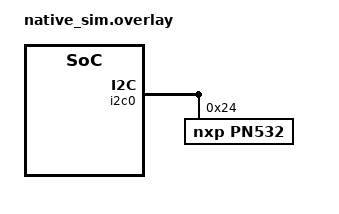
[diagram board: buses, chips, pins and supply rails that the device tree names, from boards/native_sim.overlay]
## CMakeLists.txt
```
# SPDX-License-Identifier: Apache-2.0

cmake_minimum_required(VERSION 3.20.0)
find_package(Zephyr REQUIRED HINTS $ENV{ZEPHYR_BASE})
project(app)

target_include_directories(app PRIVATE include)

target_sources(app PRIVATE
  src/main.c
)

if(CONFIG_BOOTLOADER_MCUBOOT)
  target_sources(app PRIVATE src/Updater.cpp)
endif()
```

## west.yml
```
manifest:
  version: 0.7

  defaults:
    remote: zephyrproject

  remotes:
    - name: zephyrproject
      url-base: https://github.com/bayrem-gharsellaoui

  projects:
    - name: zephyr
      repo-path: zephyr
      revision: crypto_stm32_hash
      path: zephyr
      import:
        path-prefix: deps
        name-allowlist:
          - cmsis_6
          - hal_stm32
          - mcuboot
          - mbedtls

  self:
    path: app
```

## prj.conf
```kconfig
# Shell
CONFIG_KERNEL_SHELL=y
CONFIG_SHELL=y

# Debug
CONFIG_DEBUG=y
CONFIG_DEBUG_THREAD_INFO=y
CONFIG_NO_OPTIMIZATIONS=y

# Logging
CONFIG_LOG=y
```

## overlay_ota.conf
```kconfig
# Bootloader
CONFIG_BOOTLOADER_MCUBOOT=y
CONFIG_MCUBOOT_GENERATE_UNSIGNED_IMAGE=n
CONFIG_MCUBOOT_SIGNATURE_KEY_FILE="bootloader/mcuboot/root-rsa-2048.pem"

# Updater
CONFIG_IMG_MANAGER=y
CONFIG_IMG_ENABLE_IMAGE_CHECK=y

# NVS
CONFIG_NVS=y
CONFIG_NVS_LOG_LEVEL_DBG=n
CONFIG_MPU_ALLOW_FLASH_WRITE=y
CONFIG_FLASH=y
CONFIG_FLASH_MAP=y
CONFIG_STREAM_FLASH=y
CONFIG_FLASH_PAGE_LAYOUT=y
CONFIG_FLASH_AREA_CHECK_INTEGRITY_MBEDTLS=y
```

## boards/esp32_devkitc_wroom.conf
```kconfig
CONFIG_HEAP_MEM_POOL_SIZE=98304
CONFIG_EARLY_CONSOLE=y
CONFIG_INIT_STACKS=y

CONFIG_TEST_RANDOM_GENERATOR=y

CONFIG_WIFI=y
CONFIG_WIFI_LOG_LEVEL_ERR=y
CONFIG_ESP32_WIFI_STA_AUTO_DHCPV4=y

CONFIG_NETWORKING=y
CONFIG_NET_LOG=y
CONFIG_NET_L2_ETHERNET=y
CONFIG_NET_L2_WIFI_SHELL=y
CONFIG_NET_IPV4=y
CONFIG_NET_IPV6=n
CONFIG_NET_TCP=y
CONFIG_NET_DHCPV4=y
CONFIG_NET_TX_STACK_SIZE=2048
CONFIG_NET_RX_STACK_SIZE=2048
CONFIG_NET_PKT_RX_COUNT=10
CONFIG_NET_PKT_TX_COUNT=10
CONFIG_NET_BUF_RX_COUNT=20
CONFIG_NET_BUF_TX_COUNT=20
CONFIG_NET_MAX_CONTEXTS=10
CONFIG_NET_SHELL=y
CONFIG_NET_STATISTICS=y
CONFIG_NET_STATISTICS_PERIODIC_OUTPUT=n
```

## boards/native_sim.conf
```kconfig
# GPIO
CONFIG_GPIO=y

# Emulation
CONFIG_EMUL=y
CONFIG_I2C_EMUL=y
CONFIG_GPIO_EMUL=y
```

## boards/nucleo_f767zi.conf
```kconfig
# GPIO
CONFIG_GPIO=y

# UART
CONFIG_SERIAL=y
CONFIG_UART_INTERRUPT_DRIVEN=y

# Networking
CONFIG_NET_L2_ETHERNET=n
```

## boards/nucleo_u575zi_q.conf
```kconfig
# Crypto
CONFIG_CRYPTO=y
CONFIG_CRYPTO_LOG_LEVEL_DBG=y

# Misc
CONFIG_MAIN_STACK_SIZE=4096
```

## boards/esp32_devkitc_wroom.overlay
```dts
/ {
    aliases {
        led0 = &led0;
    };

    leds {
        compatible = "gpio-leds";
        led0: led_0 {
            gpios = <&gpio0 25 GPIO_ACTIVE_HIGH>;
            label = "LED 0";
        };
    };
};
```

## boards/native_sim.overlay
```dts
&i2c0 {
    status = "okay";
    pn532: pn532@24 {
        compatible = "nxp,pn532";
        reg = <0x24>;
        status = "okay";
    };
};
```

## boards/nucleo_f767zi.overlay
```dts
&die_temp {
	status = "okay";
};

&usart3 {
	current-speed = <2000000>;
	status = "okay";
};

&i2c1 {
    status = "okay";
    pn532: pn532@24 {
        compatible = "nxp,pn532";
        reg = <0x24>;
        status = "okay";
    };
};
```

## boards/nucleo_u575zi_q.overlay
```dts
&die_temp {
    status = "okay";
};

&flash0 {
    partitions {
        compatible = "fixed-partitions";
        #address-cells = <1>;
        #size-cells = <1>;

        /*
         * The two sectors 0-1 (32+32 kbytes) are reserved for
         * the bootloader.
         */
        boot_partition: partition@0 {
            label = "mcuboot";
            reg = <0x0 DT_SIZE_K(64)>;
            read-only;
        };

        /*
         * The flash starting at offset 0x10000 and ending at
         * offset 0x1ffff is reserved for use by the application.
         * This represents sectors 2-3 (32+32 kbytes)
         */
        storage_partition: partition@10000 {
            label = "storage";
            reg = <0x00010000 DT_SIZE_K(64)>;
        };

        /*
         * Sector 4 (128 kbytes) unallocated.
         */

        /*
         * Allocated 3 (256k x 3) sectors for image-0. Sectors 5-7.
         */
        slot0_partition: partition@40000 {
            label = "image-0";
            reg = <0x00040000 DT_SIZE_K(768)>;
        };

        /*
         * Allocated 3 (256k x 3) sectors for image-1. Sectors 8-10.
         */
        slot1_partition: partition@100000 {
            label = "image-1";
            reg = <0x00100000 DT_SIZE_K(768)>;
        };

        /*
         * Allocated 1 (256k) sector for image-scratch. Sector 11.
         */
        scratch_partition: partition@1C0000 {
            label = "image-scratch";
            reg = <0x001C0000 DT_SIZE_K(256)>;
        };
    };
};

/ {
    hash: hash@420c0400 {
        compatible = "st,stm32-hash";
        reg = <0x420c0400 0x400>;
        clocks = <&rcc STM32_CLOCK(AHB2, 17U)>;
        resets = <&rctl STM32_RESET(AHB2L, 17U)>;
        interrupts = <96 0>;
        status = "okay";
    };
};
```

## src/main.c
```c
/*-----------------------------------------------------------------------------------------------*/
/* Includes                                                                                      */
/*-----------------------------------------------------------------------------------------------*/
// Lib C includes
#include <stdlib.h>
#include <stdbool.h>

// Zephyr includes
#include <zephyr/kernel.h>
#include <zephyr/device.h>
#include <zephyr/logging/log.h>
LOG_MODULE_REGISTER(main);

#include <pn532.h>

/*-----------------------------------------------------------------------------------------------*/
/* Private function prototypes                                                                   */
/*-----------------------------------------------------------------------------------------------*/
static void pn532_example(void);

/*-----------------------------------------------------------------------------------------------*/
/* Public functions                                                                              */
/*-----------------------------------------------------------------------------------------------*/
/**
  * @brief  Program entry point
  * @param  None
  * @retval None
  */
int main(void)
{
  pn532_example();

  while (true) {
    k_msleep(500);
  }

  return EXIT_FAILURE;
}

/**
  * @brief  Fatal error handler callback
  * @param  reason Reason for the fatal error
  * @param  context Exception context, with details and partial or full register
  * @retval None
  */
void k_sys_fatal_error_handler(unsigned int reason, const struct arch_esf *context)
{
  struct k_thread *faulting_thread = NULL;

  switch (reason) {
    case K_ERR_CPU_EXCEPTION: {
      LOG_ERR("Generic CPU exception, not covered by other codes");
      break;
    }
    case K_ERR_SPURIOUS_IRQ: {
      LOG_ERR("Unhandled hardware interrupt");
      break;
    }
    case K_ERR_STACK_CHK_FAIL: {
      LOG_ERR("Faulting context overflowed its stack buffer");
      /* Get the current thread that caused the fault */
      faulting_thread = k_current_get();
      if (faulting_thread) {
        LOG_ERR("Fault occurred in thread: %s", k_thread_name_get(faulting_thread));
        LOG_ERR("Thread ID: %p", (void *)faulting_thread);
        LOG_ERR("Stack start: %p, size: %zu",
                (void *)faulting_thread->stack_info.start,
                faulting_thread->stack_info.size);
      } else {
        LOG_ERR("Could not determine faulting thread");
      }
      break;
    }
    case K_ERR_KERNEL_OOPS: {
      LOG_ERR("High severity software error");
      break;
    }
    case K_ERR_ARCH_START: {
      LOG_ERR("Arch specific fatal errors");
      break;
    }
    default: {
      LOG_ERR("Unknow reason for fatal error (%d)", reason);
      break;
    }
  }
}

/*-----------------------------------------------------------------------------------------------*/
/* Private functions                                                                             */
/*-----------------------------------------------------------------------------------------------*/
/**
  * @brief  Example of using the PN532 NFC driver
  * @retval None
  */
static void pn532_example(void)
{
  const struct device *dev = DEVICE_DT_GET_ONE(nxp_pn532);
  uint32_t version = 0;

  if (!device_is_ready(dev)) {
    LOG_INF("PN532 device not ready");
    return;
  }

  if (pn532_get_firmware_version(dev, &version) == 0) {
    LOG_INF("PN532 Firmware Version: %02X.%02X", (version >> 8) & 0xFF, version & 0xFF);
  } else {
    LOG_ERR("Failed to get PN532 firmware version");
  }
}
```

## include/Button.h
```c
/*
Usage example:

// Lib C includes
#include <stdbool.h>

// Zephyr includes
#include <zephyr/kernel.h>
#include <zephyr/device.h>
#include <zephyr/sys/printk.h>
#include <zephyr/drivers/gpio.h>

// User C++ class headers
#include "Button.h"

// Reference GPIO device from device tree
const struct gpio_dt_spec buttonGpio = GPIO_DT_SPEC_GET_OR(DT_ALIAS(sw0), gpios, {0});

// Create local object using the device
Button button(&buttonGpio);

// Continuously check if a button is pressed
while (true) {
  if (button.isPressed()) {
    printk("Button is pressed\r\n");
  }
  k_msleep(200);
}
*/

#ifndef BUTTON_H
#define BUTTON_H

#include <stdbool.h>
#include <zephyr/drivers/gpio.h>

enum class ButtonPolarity {
  NORMAL,
  INVERTED
};

class Button {

public:
  Button(const struct gpio_dt_spec *gpio);
  ~Button();

  bool isPressed(ButtonPolarity polarity = ButtonPolarity::NORMAL);

private:
  const struct gpio_dt_spec *gpio;

};

#endif // BUTTON_H
```

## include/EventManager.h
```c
#ifndef EVENT_MANAGER_H
#define EVENT_MANAGER_H

// Zephyr includes
#include <zephyr/kernel.h>
#include <zephyr/zbus/zbus.h>

#define EVENT_ACTION_LIST_SIZE(list) (sizeof(list) / sizeof(list[0]))

// Possible events
typedef enum {
  EVENT_INITIAL_VALUE = 0,
  EVENT_OTA_UPDATE_SHELL_CMD,
  EVENT_NETWORK_AVAILABLE,
  EVENT_BUTTON_PRESSED,
  EVENT_MAX_VALUE
} event_id_t;

// event_id_t enum is embedded inside event_t struct because ZBUS only accepts struct or union
typedef struct {
  event_id_t id;
} event_t;

typedef void (*event_action_t) (void);

typedef struct {
  event_id_t id;
  event_action_t action;
} event_action_pair_t;

void processEvent(event_t *event, const event_action_pair_t *eventActionList, uint8_t listLength);
int waitForEvent(const zbus_observer *subscriber, event_t *event, k_timeout_t timeout);
int publishEvent(event_t *event, k_timeout_t timeout);

// Import channel and make it exportable by just including "EventManager.h"
ZBUS_CHAN_DECLARE(eventsChannel);

#endif // EVENT_MANAGER_H
```

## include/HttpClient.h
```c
/*
Usage example:

// Lib C includes
#include <stdint.h>
#include <stdbool.h>

// Zephyr includes
#include <zephyr/kernel.h>
#include <zephyr/sys/printk.h>

// User C++ class headers
#include "HttpClient.h"

// Thread handler function declaration
static void httpGetRequestThreadHandler();

// Delay value used inside thread loops to yield back to scheduler
static constexpr uint32_t HTTP_CLIENT_THREAD_SLEEP_TIME_MS = 100;

// Threads definition
K_THREAD_DEFINE(httpGetRequestThread, 1024, httpGetRequestThreadHandler, NULL, NULL, NULL, 7, 0, 0);

static void httpGetRequestThreadHandler() {
  // Create an HTTP client as a local object
  HttpClient client((char *)"10.42.0.1", 1880);

  // Send GET request and handle response in a lambda callback
  client.get("/data", [](uint8_t *response, uint32_t length) {
    uint32_t index = 0;

    // Skip headers by looking for the start of the json message
    for (index = 0; index < length; index++) {
      if (response[index] == '{') {
        break;
      }
    }
    printk("\r\nResponse(%d bytes): %.*s\r\n", length-index, length-index, &response[index]);
  });

  while (true) {
    k_msleep(HTTP_CLIENT_THREAD_SLEEP_TIME_MS);
  }
}
*/

#ifndef HTTP_CLIENT_H
#define HTTP_CLIENT_H

#include <stdint.h>
#include <stdbool.h>
#include <functional>

#include <zephyr/net/net_ip.h>
#include <zephyr/net/http/client.h>

static constexpr uint32_t HTTP_CLIENT_RESPONSE_BUFFER_SIZE = 512;

typedef struct {
  uint8_t *header;
  uint32_t headerLength;
  uint8_t *body;
  uint32_t bodyLength;
  uint32_t totalSize;
  bool isComplete;
  uint16_t statusCode;
} HttpResponse;

class HttpClient {

public:
  std::function<void(HttpResponse *response)> callback;

  HttpClient(char *server, uint16_t port = 80);
  ~HttpClient();
  int get(const char *endpoint, std::function<void(HttpResponse *)> callback);
  int post(const char *endpoint,
           const char *data,
           uint32_t length,
           std::function<void(HttpResponse *)> callback);

private:
  int sock;
  char *server;
  uint16_t port;
  struct sockaddr socketAddress;
  uint8_t responseBuffer[HTTP_CLIENT_RESPONSE_BUFFER_SIZE];

};

#endif // HTTP_CLIENT_H
```

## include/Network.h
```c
/*
Usage example:

// Lib C includes
#include <stdbool.h>

// Zephyr includes
#include <zephyr/kernel.h>
#include <zephyr/sys/printk.h>

// User C++ class headers
#include "Network.h"

// Get the singleton instance of Network
Network& network = Network::getInstance();

// Set up the lambda callback for IP address notification
network.onGotIP([](const char *ipAddress) {
  printk("Got IP address: %s\r\n", ipAddress);
});

// Start the network and wait for an IP address
network.start();
*/

#ifndef NETWORK_H
#define NETWORK_H

#include <stdint.h>
#include <functional>
#include <zephyr/net/net_if.h>
#include <zephyr/net/net_mgmt.h>

class Network {
public:
  // Static method to access the singleton instance
  static Network& getInstance();

  void start();
  void onGotIP(std::function<void(const char *)> callback);

  std::function<void(const char *)> callback;

private:
  // Private constructor to prevent direct instantiation
  Network();
  ~Network();

  // Static member to hold the singleton instance
  static Network instance;
  struct net_mgmt_event_callback mgmtEventCb;
  struct net_if *netIface;
};

#endif // NETWORK_H
```

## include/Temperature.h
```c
/*
Usage example:

// Lib C includes
#include <stdbool.h>

// Zephyr includes
#include <zephyr/kernel.h>
#include <zephyr/device.h>
#include <zephyr/sys/printk.h>

// User C++ class headers
#include "Temperature.h"

// Variable to hold temperature reading in Celsius
double temperatureReading = 0;

// Reference die temperature device from device tree
const struct device *temperatureDevice = DEVICE_DT_GET(DT_NODELABEL(die_temp));

// Create local object using the device
Temperature temperature(temperatureDevice);

// Continuously read temperature
while (true) {
  temperatureReading = temperature.read();
  printk("CPU temperature: %.1f °C\r\n", temperatureReading);
  k_msleep(1000);
}
*/

#ifndef TEMPERATURE_H
#define TEMPERATURE_H

class Temperature {

public:
  Temperature(const struct device *device);
  ~Temperature();
  double read();

private:
  const struct device *device;

};

#endif // TEMPERATURE_H
```

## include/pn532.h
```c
#ifndef PN532_H_
#define PN532_H_

#include <zephyr/device.h>

#define PN532_MIFARE_ISO14443A (0x00)

int pn532_get_firmware_version(const struct device *i2c_dev, uint32_t *version);
int pn532_start_passive_target_id_detection(const struct device *i2c_dev, uint8_t card_baudrate);
int pn532_read_passive_target_id(const struct device *i2c_dev, uint8_t *uid, uint8_t *uid_length, uint16_t timeout);

#endif /* PN532_H_ */
```

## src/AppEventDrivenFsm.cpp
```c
#include <stdbool.h>
#include <zephyr/kernel.h>
#include <zephyr/drivers/gpio.h>
#include <zephyr/smf.h>
#include <zephyr/logging/log.h>
LOG_MODULE_REGISTER(AppEventDrivenFsm);

/* List of events */
#define EVENT_ANY          (uint32_t)(0xFFFFFFFF)
#define EVENT_BUTTON_PRESS (uint32_t)(BIT(0))

/* Used to facilitate indexing the states[] list */
typedef enum {
  STATE_0 = 0,
  STATE_1,
  STATE_MAX,
} state_t;

/* State machine global context (contains SMF context + user data) */
typedef struct {
  /* This must be first */
  struct smf_ctx ctx;
  /* In our case, user data is the event kernel object and a 32 bits variable to store events */
  struct k_event kEvent;
  uint32_t events;
  /* Other state specific data add here */
} state_machine_t;

static void appThreadHandler(void);
static void state0EventsHandler(void *machine);
static void state1EventsHandler(void *machine);
static void setupButton(const struct gpio_dt_spec *buttonGpio, struct gpio_callback *callbackData);
static void onButtonPressCallback(const struct device *dev, struct gpio_callback *cb, uint32_t pins);

/* Create thread */
K_THREAD_DEFINE(appThread, 1024, appThreadHandler, NULL, NULL, NULL, 7, 0, 0);

/* Get button device from DTS */
static const struct gpio_dt_spec button = GPIO_DT_SPEC_GET_OR(DT_ALIAS(sw0), gpios, {0});

/* List of states */
static const struct smf_state states[] = {
  [STATE_0] = SMF_CREATE_STATE(NULL, state0EventsHandler, NULL),
  [STATE_1] = SMF_CREATE_STATE(NULL, state1EventsHandler, NULL),
};

/* Global state machine */
static state_machine_t stateMachine = {0};

/* Button GPIO callback data */
static struct gpio_callback buttonCallbackData = {0};

static void appThreadHandler(void) {
  int ret = 0;

  /* Configure button GPIO and interrupt */
  setupButton(&button, &buttonCallbackData);

  /* Initialize the event kernel object inside the state machine */
  k_event_init(&stateMachine.kEvent);

  /* Set initial state for the state machine */
  smf_set_initial(SMF_CTX(&stateMachine), &states[STATE_0]);

  /* Run the state machine */
  while(true) {
    /* Block forever until any event is detected */
    stateMachine.events = k_event_wait(&stateMachine.kEvent, EVENT_ANY, true, K_FOREVER);
    /* Runs one iteration of a state machine (including any parent states) */
    ret = smf_run_state(SMF_CTX(&stateMachine));
    /* State machine terminates if a non-zero value is returned */
    if (ret) {
      /* Handle return code and terminate state machine */
      break;
    }
  }
}

static void state0EventsHandler(void *machine) {
  /* Filter on events that we need in STATE 0 */
  if (stateMachine.events & EVENT_BUTTON_PRESS) {
    /* Change state on button press event */
    smf_set_state(SMF_CTX(&stateMachine), &states[STATE_1]);
  }
}

static void state1EventsHandler(void *machine) {
  /* Filter on events that we need in STATE 1 */
  if (stateMachine.events & EVENT_BUTTON_PRESS) {
    /* Change state on button press event */
    smf_set_state(SMF_CTX(&stateMachine), &states[STATE_0]);
  }
}

static void setupButton(const struct gpio_dt_spec *buttonGpio, struct gpio_callback *callbackData) {
  int ret;

  /* Setup button GPIO and interrupt */
  if (!gpio_is_ready_dt(buttonGpio)) {
    LOG_ERR("Error: button device %s is not ready", button.port->name);
    return;
  }
  ret = gpio_pin_configure_dt(buttonGpio, GPIO_INPUT);
  if (ret != 0) {
    LOG_ERR("Error %d: failed to configure %s pin %d", ret, button.port->name, button.pin);
    return;
  }
  ret = gpio_pin_interrupt_configure_dt(buttonGpio, GPIO_INT_EDGE_TO_ACTIVE);
  if (ret != 0) {
    LOG_ERR("Error %d: failed to configure interrupt on %s pin %d", ret, button.port->name, button.pin);
    return;
  }
  gpio_init_callback(callbackData, onButtonPressCallback, BIT(button.pin));
  gpio_add_callback(button.port, callbackData);
}

static void onButtonPressCallback(const struct device *dev, struct gpio_callback *cb, uint32_t pins) {
  /* Generate button press event */
  k_event_post(&stateMachine.kEvent, EVENT_BUTTON_PRESS);
}
```

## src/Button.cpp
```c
// Lib C
#include <assert.h>

// Zephyr includes
#include <zephyr/drivers/gpio.h>
#include <zephyr/logging/log.h>
LOG_MODULE_REGISTER(Button);

// User C++ class headers
#include "Button.h"

Button::Button(const struct gpio_dt_spec *gpio) {
  assert(gpio);

  this->gpio = gpio;

  if (!gpio_is_ready_dt(gpio)) {
    LOG_ERR("Error: button device %s is not ready", gpio->port->name);
    return;
  }

  if (gpio_pin_configure_dt(gpio, GPIO_INPUT) != 0) {
    LOG_ERR("Error: Failed to configure %s pin %d", gpio->port->name, gpio->pin);
    return;
  }
}

Button::~Button() {
  // Destructor is automatically called when the object goes out of scope or is explicitly deleted
}

bool Button::isPressed(ButtonPolarity polarity) {
  bool result = false;

  if (polarity == ButtonPolarity::NORMAL) {
    result = (gpio_pin_get_dt(this->gpio) == 0) ? true : false;
  } else {
    result = (gpio_pin_get_dt(this->gpio) == 1) ? true : false;
  }

  return result;
}
```

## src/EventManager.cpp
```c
// Lib C
#include <assert.h>

// Zephyr includes
#include <zephyr/zbus/zbus.h>
#include <zephyr/logging/log.h>
LOG_MODULE_REGISTER(EventManager);

// User C++ class headers
#include "EventManager.h"

// ZBUS channel definition
ZBUS_CHAN_DEFINE(
  eventsChannel,                           // Channel name
  event_t,                                 // Message type
  NULL,                                    // Validator function
  NULL,                                    // User data
  ZBUS_OBSERVERS(ZBUS_OBSERVERS_EMPTY),    // Initial observers list
  ZBUS_MSG_INIT(.id = EVENT_INITIAL_VALUE) // Message initialization
);

int waitForEvent(const zbus_observer *subscriber, event_t *event, k_timeout_t timeout) {
  int ret = 0;
  const struct zbus_channel *channel = NULL;

  assert(subscriber);
  assert(event);

  // Wait forever for an event
  ret = zbus_sub_wait(subscriber, &channel, K_FOREVER);

  // Check if notification is received
  if (ret == 0) {

    // Make sure the event came on the right channel
    if (&eventsChannel == channel) {

      // Read the event
      ret = zbus_chan_read(&eventsChannel, event, K_FOREVER);

      if (ret == 0) {
        LOG_DBG("Subscriber <%s> received event <%d> on <%s>\r\n",
                subscriber->name,
                event->id,
                channel->name);
      } else {
        // Something wrong happened while reading event from channel
        LOG_ERR("Something wrong happened while reading from channel: %d", ret);
      }
    } else {
      // I'm not interested in this channel
      LOG_WRN("<%s> is not interested in this channel: <%s>", subscriber->name, channel->name);
    }
  } else {
    // Something wrong happened while waiting for event
    LOG_ERR("Something wrong happened while waiting for event: %d", ret);
  }

  return ret;
}

void processEvent(event_t *event, const event_action_pair_t *eventActionList, uint8_t listLength) {
  uint8_t eventIndex = 0;

  assert(event);
  assert(eventActionList);
  assert(listLength);

  // For each event/action pair
  for (eventIndex = 0; eventIndex < listLength; eventIndex++) {
    // If the event that needs to be processed is found
    if (event->id == eventActionList[eventIndex].id) {
      // And has a valid action function
      if (eventActionList[eventIndex].action) {
        // Execute its associated action
        eventActionList[eventIndex].action();
      }
    }
  }
}

int publishEvent(event_t *event, k_timeout_t timeout) {
  int ret = 0;

  assert(event);

  ret = zbus_chan_pub(&eventsChannel, event, timeout);

  return ret;
}
```

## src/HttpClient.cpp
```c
// Lib C
#include <string.h>
#include <assert.h>

// Zephyr includes
#include <zephyr/net/net_ip.h>
#include <zephyr/net/socket.h>
#include <zephyr/net/http/client.h>
#include <zephyr/logging/log.h>
LOG_MODULE_REGISTER(HttpClient);

// User C++ class headers
#include "HttpClient.h"

static void responseCallback(http_response *response,
                                 enum http_final_call finalData,
                                 void *userData);

HttpClient::HttpClient(char *server, uint16_t port) {
  assert(server);
  assert(port);

  // 1. Initialize attributes
  this->sock = 0;
  this->server = server;
  this->port = port;
  memset((void *)&this->socketAddress, 0x00, sizeof(this->socketAddress));
  memset((void *)&this->responseBuffer, 0x00, sizeof(this->responseBuffer));
}

HttpClient::~HttpClient() {
  // Destructor is automatically called when the object goes out of scope or is explicitly deleted
}

int HttpClient::get(const char *endpoint, std::function<void(HttpResponse *)> callback) {
  int ret = 0;
  struct http_request request = {0};

  assert(endpoint);
  assert(callback);

  // 0. Create socket
  memset((void *)&this->socketAddress, 0x00, sizeof(this->socketAddress));
  net_sin(&this->socketAddress)->sin_family = AF_INET;
  net_sin(&this->socketAddress)->sin_port = htons(port);
  inet_pton(AF_INET, this->server, &net_sin(&this->socketAddress)->sin_addr);
  this->sock = socket(AF_INET, SOCK_STREAM, IPPROTO_TCP);

  if (this->sock < 0) {
    LOG_ERR("Failed to create HTTP socket (%d)\r\n", -errno);
  }

  this->callback = callback;

  // 1. Open TCP connection
  ret = connect(this->sock, &this->socketAddress, sizeof(this->socketAddress));
  if (ret < 0) {
    LOG_ERR("Cannot connect to remote: %s (%d)", this->server, -errno);
    ret = -errno;
    return ret;
  }

  // 2. Send GET request
  request.method = HTTP_GET;
  request.url = endpoint;
  request.host = this->server;
  request.protocol = "HTTP/1.1";
  request.response = responseCallback;
  request.recv_buf = this->responseBuffer;
  request.recv_buf_len = sizeof(this->responseBuffer);
  ret = http_client_req(this->sock, &request, 5000, (void *)&this->callback);
  if (ret < 0) {
    LOG_ERR("Error sending GET request");
    ret = -errno;
    return ret;
  }

  // 3. Close TCP connection
  close(this->sock);

  return ret;
}

int HttpClient::post(const char *endpoint,
                     const char *data,
                     uint32_t length,
                     std::function<void(HttpResponse *)> callback) {
  int ret = 0;
  struct http_request request = {0};

  assert(endpoint);
  assert(data);
  assert(length);
  assert(callback);

  // 0. Create socket
  memset((void *)&this->socketAddress, 0x00, sizeof(this->socketAddress));
  net_sin(&this->socketAddress)->sin_family = AF_INET;
  net_sin(&this->socketAddress)->sin_port = htons(port);
  inet_pton(AF_INET, this->server, &net_sin(&this->socketAddress)->sin_addr);
  this->sock = socket(AF_INET, SOCK_STREAM, IPPROTO_TCP);

  if (this->sock < 0) {
    LOG_ERR("Failed to create HTTP socket (%d)\r\n", -errno);
  }

  this->callback = callback;

  // 1. Open TCP connection
  ret = connect(this->sock, &this->socketAddress, sizeof(this->socketAddress));
  if (ret < 0) {
    LOG_ERR("Cannot connect to remote (%d)", -errno);
    ret = -errno;
    return ret;
  }

  // 2. Send POST request
  request.method = HTTP_POST;
  request.host = this->server;
  request.url = endpoint;
  request.protocol = "HTTP/1.1";
  request.response = responseCallback;
  request.payload = data;
  request.payload_len = length;
  request.recv_buf = this->responseBuffer;
  request.recv_buf_len = sizeof(this->responseBuffer);
  ret = http_client_req(this->sock, &request, 5000, (void *)this);
  if (ret < 0) {
    LOG_ERR("Error sending POST request\r\n");
    ret = -errno;
    return ret;
  }

  // 3. Close TCP connection
  close(this->sock);

  return ret;
}

static void responseCallback(http_response *response, enum http_final_call finalData, void *userData) {
  HttpClient *clientInstance  = static_cast<HttpClient *>(userData);
  HttpResponse httpResponse = {0};

  assert(userData);
  assert(response);
  assert(clientInstance);

  if (response->body_found) {
    httpResponse.header = response->recv_buf;
    httpResponse.headerLength = response->data_len - response->body_frag_len;
    httpResponse.body = response->body_frag_start;
    httpResponse.bodyLength = response->body_frag_len;
    httpResponse.totalSize = response->content_length;
    httpResponse.isComplete = (finalData == HTTP_DATA_FINAL);
  } else {
    httpResponse.header = response->recv_buf;
    httpResponse.headerLength = response->data_len;
  }
  httpResponse.statusCode = response->http_status_code;

  if (clientInstance->callback) {
    clientInstance->callback(&httpResponse);
  }
}
```

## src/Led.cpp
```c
// Zephyr includes
#include <zephyr/drivers/gpio.h>
#include <zephyr/logging/log.h>
LOG_MODULE_REGISTER(Led);

// User C++ class headers
#include "Led.h"

Led::Led(const struct gpio_dt_spec *gpio) {
  if (gpio == NULL) {
    LOG_ERR("Error: Invalid argument\r\n");
    return;
  }

  this->_device = gpio;

  if (!gpio_is_ready_dt(gpio)) {
    LOG_ERR("Error: Led device %s is not ready\n", gpio->port->name);
    return;
  }

  if (gpio_pin_configure_dt(gpio, GPIO_OUTPUT_ACTIVE) != 0) {
    LOG_ERR("Error: Failed to configure %s pin %d\n", gpio->port->name, gpio->pin);
    return;
  }
}

Led::~Led() {
  // Destructor is automatically called when the object goes out of scope or is explicitly deleted
}

void Led::on() {
  gpio_pin_set_dt(this->_device, 1);
}

void Led::off() {
  gpio_pin_set_dt(this->_device, 0);
}

void Led::toggle() {
  int ret = 0;

  ret = gpio_pin_toggle_dt(this->_device);
  if (ret < 0) {
    LOG_ERR("Failed to toggle LED pin!\r\n");
    return;
  }
}

void Led::blink(int dutyCycle) {
}
```

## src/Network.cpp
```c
// Lib C
#include <assert.h>

// Zephyr includes
#include <zephyr/net/net_core.h>
#include <zephyr/net/net_context.h>
#include <zephyr/logging/log.h>
LOG_MODULE_REGISTER(Network);

// User C++ class headers
#include "Network.h"

static void netMgmtCallback(struct net_mgmt_event_callback *cb, uint32_t event, struct net_if *iface);

// Define the static member
Network Network::instance;

Network& Network::getInstance() {
  // Return the singleton instance
  return instance;
}

Network::Network() {
  net_mgmt_init_event_callback(&this->mgmtEventCb, netMgmtCallback, NET_EVENT_IPV4_ADDR_ADD);
  net_mgmt_add_event_callback(&this->mgmtEventCb);
  this->netIface = net_if_get_default();
}

Network::~Network() {
}

void Network::start() {
  net_dhcpv4_start(this->netIface);
}

void Network::onGotIP(std::function<void(const char *)> callback) {
  assert(callback);

  this->callback = callback;
}

static void netMgmtCallback(struct net_mgmt_event_callback *cb, uint32_t event, struct net_if *iface) {
  char ipBuffer[NET_IPV4_ADDR_LEN] = {0};

  if (event == NET_EVENT_IPV4_ADDR_ADD) {
    if (iface->config.ip.ipv4->unicast[0].addr_type == NET_ADDR_DHCP) {
      if (net_addr_ntop(AF_INET,
                        &iface->config.ip.ipv4->unicast[0].address.in_addr,
                        ipBuffer,
                        sizeof(ipBuffer))) {
        // Notify the callback if it's set
        if (Network::getInstance().callback) {
          Network::getInstance().callback(ipBuffer);
        }
      } else {
        LOG_ERR("Error while converting IP address to string form\r\n");
      }
    }
  }
}
```
